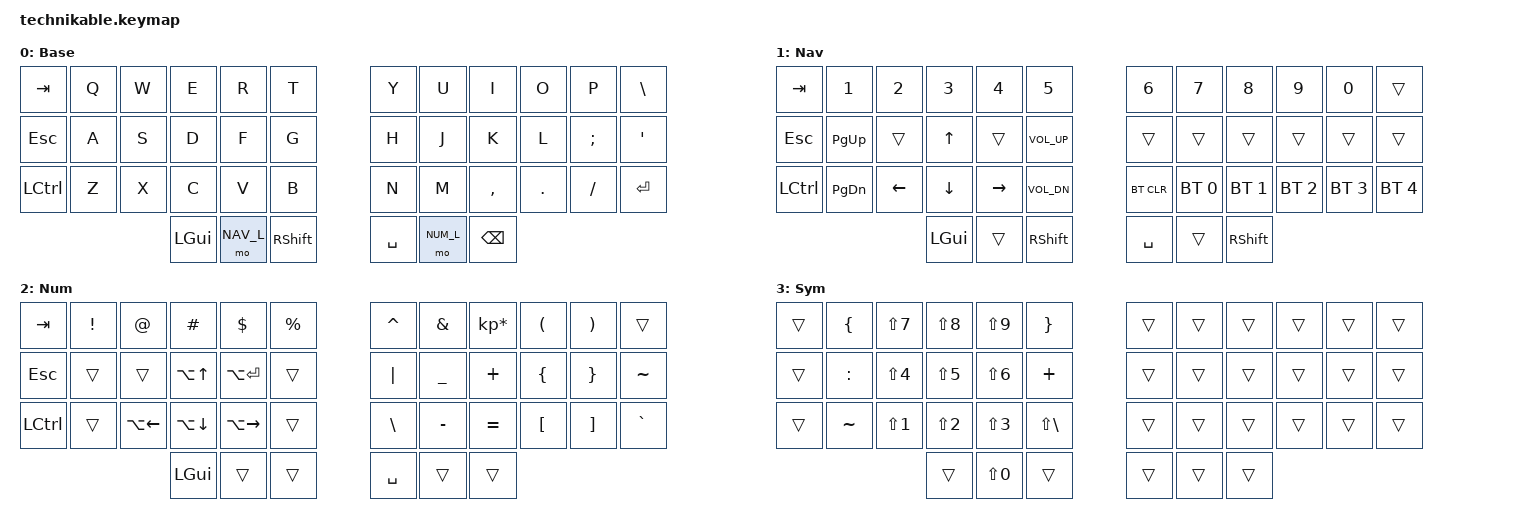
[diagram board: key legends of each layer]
/*
 * Copyright (c) 2022 Pete Johanson
 *
 * SPDX-License-Identifier: MIT
 */

#include <behaviors.dtsi>
#include <dt-bindings/zmk/keys.h>
#include <dt-bindings/zmk/bt.h>
#include <dt-bindings/zmk/outputs.h>

#define QWERTY_BASE true

// #define TBLE_ORTHO   true
// #define TBLE_MIT     true
#define TBLE_DUAL_2U true

#define BAS_L 0
#define NAV_L 1
#define NUM_L 2
#define SYM_L 3

// Using layer taps on thumbs, having quick tap as well helps w/ repeating space/backspace
&lt { quick_tap_ms = <200>; };

#define BT(n) BT_SEL n

/ {
    chosen {
       zmk,matrix_transform =
#ifdef TBLE_DUAL_2U
                       &dual_2u_transform;
#elif defined(TBLE_MIT)
                       &mit_transform;
#else
                       &ortho_transform;
#endif
    };

    conditional_layers {
        compatible = "zmk,conditional-layers";
	tri_layer {
	    if-layers = <NAV_L NUM_L>;
	    then-layer = <SYM_L>;
	};
    };

    keymap {
        compatible = "zmk,keymap";

        base_layer {
            label = "Base";
            bindings = <
#ifdef QWERTY_BASE
 &kp TAB    &kp Q      &kp W      &kp E       &kp R          &kp T          &kp Y            &kp U          &kp I       &kp O      &kp P         &kp BSLH
 &kp ESC    &kp A      &kp S      &kp D       &kp F          &kp G          &kp H            &kp J          &kp K       &kp L      &kp SEMI      &kp SQT
 &kp LCTRL  &kp Z      &kp X      &kp C       &kp V          &kp B          &kp N            &kp M          &kp COMMA   &kp DOT    &kp FSLH      &kp RET
#else
 &kp ESC    &kp Q      &kp W      &kp F       &kp P          &kp B          &kp J            &kp L          &kp U       &kp Y      &kp QUOT     &kp BKSP
 &kp TAB    &kp A      &kp R      &kp S       &kp T          &kp G          &kp M            &kp N          &kp E       &kp I      &kp O        &kp QUOT
 &kp LSHFT  &kp Z      &kp X      &kp C       &kp D          &kp V          &kp K            &kp H          &kp COMMA   &kp DOT    &kp FSLH     &kp RET
#endif
#ifdef TBLE_DUAL_2U
                       &kp LGUI  &mo NAV_L      &kp RSHFT                &kp SPACE              &mo NUM_L    &kp BSPC
#elif defined(TBLE_MIT)
                       &kp LCTRL  &kp LALT    &mo NAV_L          &kp SPACE                   &mo NUM_L      &kp RALT    &kp RCTRL
#else
                       &kp LCTRL  &kp LALT    &mo NAV_L      &kp SPACE      &kp SPACE        &mo NUM_L      &kp RALT    &kp RCTRL
#endif
            >;
        };

        nav_layer {
            label = "Nav";
            bindings = <
   &kp TAB   &kp N1    &kp N2   &kp N3   &kp N4    &kp N5        &kp N6     &kp N7       &kp N8       &kp N9       &kp N0       &trans
   &kp ESC   &kp PG_UP &trans   &kp UP   &trans    &kp C_VOL_UP  &trans     &trans       &trans       &trans       &trans       &trans
   &kp LCTRL &kp PG_DN &kp LEFT &kp DOWN &kp RIGHT &kp C_VOL_DN  &bt BT_CLR &bt BT_SEL 0 &bt BT_SEL 1 &bt BT_SEL 2 &bt BT_SEL 3 &bt BT_SEL 4
#ifdef TBLE_DUAL_2U
                                &kp LGUI &trans    &kp RSHFT     &kp SPACE  &trans       &kp RSHFT
#elif defined(TBLE_MIT)
                      &trans     &trans      &trans                &trans             &trans      &trans   &trans
#else
                      &trans     &trans      &trans          &trans       &trans    &trans  &trans         &trans
#endif
            >;
        };

        num_layer {
            label = "Num";
            bindings = <
   &kp  TAB  &kp EXCL  &kp AT       &kp HASH     &kp DLLR      &kp PRCNT       &kp CARET &kp AMPS  &kp KP_MULTIPLY &kp LPAR &kp RPAR &trans
   &kp  ESC  &trans    &trans       &kp LA(UP)   &kp LA(RET)   &trans          &kp PIPE  &kp UNDER &kp PLUS        &kp LBRC &kp RBRC &kp TILDE
   &kp LCTRL &trans    &kp LA(LEFT) &kp LA(DOWN) &kp LA(RIGHT) &trans          &kp BSLH  &kp MINUS &kp EQUAL       &kp LBKT &kp RBKT &kp GRAVE
#ifdef TBLE_DUAL_2U
                                    &kp LGUI     &trans        &trans          &kp SPACE &trans    &trans
#elif defined(TBLE_MIT)
                     &trans     &kp N0      &kp MINUS           &none            &kp ESC        &kp DEL      &trans
#else
                     &trans     &kp N0      &kp MINUS    &none         &none     &kp ESC        &kp DEL      &trans
#endif
            >;
        };

        sym_layer {
            label = "Sym";
            bindings = <
&trans     &kp LBRC   &kp LS(N7) &kp LS(N8)  &kp LS(N9)   &kp RBRC     &trans     &trans    &trans       &trans       &trans     &trans
&trans     &kp COLON  &kp LS(N4) &kp LS(N5)  &kp LS(N6)   &kp PLUS     &trans     &trans    &trans       &trans       &trans     &trans
&trans     &kp TILDE  &kp LS(N1) &kp LS(N2)  &kp LS(N3)   &kp LS(BSLH) &trans     &trans    &trans       &trans       &trans     &trans
#ifdef TBLE_DUAL_2U
                      &trans     &kp LS(N0)              &trans                    &trans       &trans         &trans
#elif defined(TBLE_MIT)
                      &trans     &kp LS(N0)      &trans                &trans             &trans      &trans   &trans
#else
                      &trans     &kp LS(N0)      &trans          &trans       &trans    &trans  &trans         &trans
#endif
            >;
        };

    };
};

